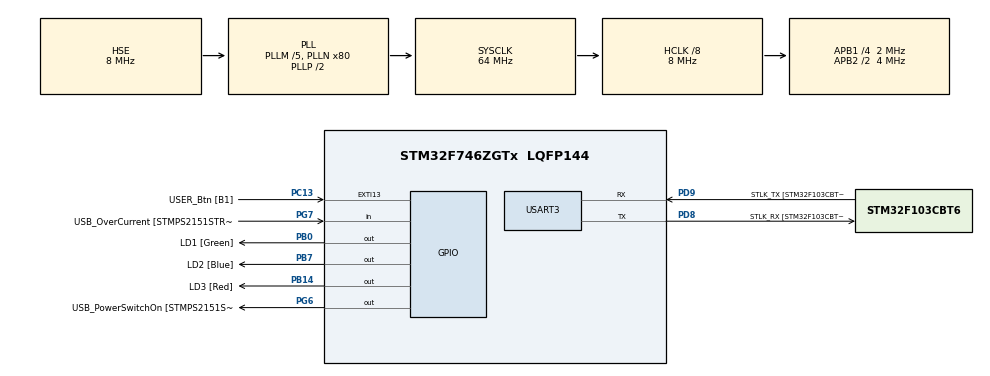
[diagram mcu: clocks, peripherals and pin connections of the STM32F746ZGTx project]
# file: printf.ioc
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Mcu.Family=STM32F7
Mcu.Name=STM32F746ZGTx
Mcu.Package=LQFP144
NVIC.PriorityGroup=NVIC_PRIORITYGROUP_4
PA1.GPIO_Label=RMII_REF_CLK [LAN8742A-CZ-TR_REFCLK0]
PA1.Signal=ETH_REF_CLK
PA10.GPIO_Label=USB_ID
PA10.Signal=USB_OTG_FS_ID
PA11.GPIO_Label=USB_DM
PA11.Signal=USB_OTG_FS_DM
PA12.GPIO_Label=USB_DP
PA12.Signal=USB_OTG_FS_DP
PA13.GPIO_Label=TMS
PA13.Mode=Trace_Asynchronous_SW
PA13.Signal=SYS_JTMS-SWDIO
PA14.GPIO_Label=TCK
PA14.Mode=Trace_Asynchronous_SW
PA14.Signal=SYS_JTCK-SWCLK
PA2.GPIO_Label=RMII_MDIO [LAN8742A-CZ-TR_MDIO]
PA2.Signal=ETH_MDIO
PA7.GPIO_Label=RMII_CRS_DV [LAN8742A-CZ-TR_CRS_DV]
PA7.Signal=ETH_CRS_DV
PA8.GPIO_Label=USB_SOF [TP1]
PA8.Signal=USB_OTG_FS_SOF
PA9.GPIO_Label=USB_VBUS
PA9.Signal=USB_OTG_FS_VBUS
PB0.GPIO_Label=LD1 [Green]
PB0.Signal=GPIO_Output
PB13.GPIO_Label=RMII_TXD1 [LAN8742A-CZ-TR_TXD1]
PB13.Signal=ETH_TXD1
PB14.GPIO_Label=LD3 [Red]
PB14.Signal=GPIO_Output
PB3.GPIO_Label=SW0
PB3.Mode=Trace_Asynchronous_SW
PB3.Signal=SYS_JTDO-SWO
PB7.GPIO_Label=LD2 [Blue]
PB7.Signal=GPIO_Output
PC1.GPIO_Label=RMII_MDC [LAN8742A-CZ-TR_MDC]
PC1.Signal=ETH_MDC
PC13.GPIO_Label=USER_Btn [B1]
PC13.Signal=GPXTI13
PC14/OSC32_IN.Mode=LSE-External-Oscillator
PC14/OSC32_IN.Signal=RCC_OSC32_IN
PC15/OSC32_OUT.Mode=LSE-External-Oscillator
PC15/OSC32_OUT.Signal=RCC_OSC32_OUT
PC4.GPIO_Label=RMII_RXD0 [LAN8742A-CZ-TR_RXD0]
PC4.Signal=ETH_RXD0
PC5.GPIO_Label=RMII_RXD1 [LAN8742A-CZ-TR_RXD1]
PC5.Signal=ETH_RXD1
PD8.GPIO_Label=STLK_RX [STM32F103CBT6_PA3]
PD8.Mode=Asynchronous
PD8.Signal=USART3_TX
PD9.GPIO_Label=STLK_TX [STM32F103CBT6_PA2]
PD9.Mode=Asynchronous
PD9.Signal=USART3_RX
PG11.GPIO_Label=RMII_TX_EN [LAN8742A-CZ-TR_TXEN]
PG11.Signal=ETH_TX_EN
PG13.GPIO_Label=RMII_TXD0 [LAN8742A-CZ-TR_TXD0]
PG13.Signal=ETH_TXD0
PG6.GPIO_Label=USB_PowerSwitchOn [STMPS2151STR_EN]
PG6.Signal=GPIO_Output
PG7.GPIO_Label=USB_OverCurrent [STMPS2151STR_FAULT]
PG7.Signal=GPIO_Input
PH0/OSC_IN.GPIO_Label=MCO [STM32F103CBT6_PA8]
PH0/OSC_IN.Mode=HSE-External-Clock-Source
PH0/OSC_IN.Signal=RCC_OSC_IN
PH1/OSC_OUT.Mode=HSE-External-Clock-Source
PH1/OSC_OUT.Signal=RCC_OSC_OUT
ProjectManager.HeapSize=0x200
ProjectManager.StackSize=0x400
ProjectManager.TargetToolchain=STM32CubeIDE
RCC.48MHZClocksFreq_Value=24000000
RCC.AHBCLKDivider=RCC_SYSCLK_DIV8
RCC.AHBFreq_Value=8000000
RCC.APB1CLKDivider=RCC_HCLK_DIV4
RCC.APB1Freq_Value=2000000
RCC.APB1TimFreq_Value=4000000
RCC.APB2CLKDivider=RCC_HCLK_DIV2
RCC.APB2Freq_Value=4000000
RCC.APB2TimFreq_Value=8000000
RCC.CortexFreq_Value=8000000
RCC.HCLKFreq_Value=8000000
RCC.HSE_VALUE=8000000
RCC.HSI_VALUE=16000000
RCC.PLLM=5
RCC.PLLMUL=RCC_PLL_MUL9
RCC.PLLN=80
RCC.PLLQ=3
RCC.PLLSourceVirtual=RCC_PLLSOURCE_HSE
RCC.PRESCALERUSB=RCC_USBCLKSOURCE_PLL_DIV1_5
RCC.SYSCLKFreq_VALUE=64000000
RCC.SYSCLKSource=RCC_SYSCLKSOURCE_PLLCLK
RCC.SYSCLKSourceVirtual=RCC_SYSCLKSOURCE_PLLCLK
RCC.USBFreq_Value=42666666.666666664
RCC.VCOOutputFreq_Value=128000000
USART3.VirtualMode-Asynchronous=VM_ASYNC
board=NUCLEO-F746ZG

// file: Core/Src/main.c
/* USER CODE BEGIN Header */
/**
  ******************************************************************************
  * @file           : main.c
  * @brief          : Main program body
  ******************************************************************************
  * @attention
  *
  * <h2><center>&copy; Copyright (c) 2022 STMicroelectronics.
  * All rights reserved.</center></h2>
  *
  * This software component is licensed by ST under BSD 3-Clause license,
  * the "License"; You may not use this file except in compliance with the
  * License. You may obtain a copy of the License at:
  *                        opensource.org/licenses/BSD-3-Clause
  *
  ******************************************************************************
  */
/* USER CODE END Header */
#include "main.h"

/* USER CODE BEGIN Includes */
#include "stdio.h"
#include "retarget.h"
/* USER CODE END Includes */

/* USER CODE BEGIN PD */
#define DEMCR        			*((volatile uint32_t*) 0xE000EDFCU )
#define ITM_STIMULUS_PORT0   	*((volatile uint32_t*) 0xE0000000 )
#define ITM_TRACE_EN          	*((volatile uint32_t*) 0xE0000E00 )

/* USER CODE END PD */

/* USER CODE BEGIN PM */
#define ITM_Port32(n) (*((volatile unsigned long *)(0xE0000000 + 4*n)))
/* USER CODE END PM */

UART_HandleTypeDef huart3;

/* USER CODE BEGIN PV */
float x = 7.3424235;
/* USER CODE END PV */

void SystemClock_Config(void);
static void MX_GPIO_Init(void);
static void MX_USART3_UART_Init(void);
/* USER CODE BEGIN PFP */

void xITM_SendChar(uint8_t ch)
{
	//Enable TRCENA
	DEMCR |= ( 1 << 24);

	//enable stimulus port 0
	ITM_TRACE_EN |= ( 1 << 0);

	// read FIFO status in bit [0]:
	while(!(ITM_STIMULUS_PORT0 & 1));

	//Write to ITM stimulus port0
	ITM_STIMULUS_PORT0 = ch;
}

//int _write(int file, char *ptr, int len)
//{
//  /* Implement your write code here, this is used by puts and printf for example */
//  int i=0;
//
//  for(i=0 ; i<len ; i++)
//    xITM_SendChar((*ptr++));
////	  ITM_SendChar((*ptr++));
//
//  return len;
//}

/* USER CODE END PFP */

/* USER CODE BEGIN 0 */
char buf[100];
/* USER CODE END 0 */

int main(void)
{

  /* MCU Configuration--------------------------------------------------------*/

  /* Reset of all peripherals, Initializes the Flash interface and the Systick. */
  HAL_Init();

  /* Configure the system clock */
  SystemClock_Config();

  /* Initialize all configured peripherals */
  MX_GPIO_Init();
  MX_USART3_UART_Init();
  /* USER CODE BEGIN 2 */
  RetargetInit(&huart3);
  /* USER CODE END 2 */

  /* Infinite loop */
  while (1)
  {

    /* USER CODE BEGIN 3 */
//	  	ITM_Port32(31) = 2;
	    int testInteger;
	    printf("\r\nEnter an integer:");
	    scanf("%d", &testInteger);
	    printf("\r\nNumber = %d",testInteger);

//	    printf("\r\nYour name: ");
//	    fflush(stdout);
//	    scanf("%s",buf);
//	    printf("\r\nHello, %s!\r\n", buf);
//		HAL_Delay(100);
  }
  /* USER CODE END 3 */
}

void SystemClock_Config(void)
{
  RCC_OscInitTypeDef RCC_OscInitStruct = {0};
  RCC_ClkInitTypeDef RCC_ClkInitStruct = {0};
  RCC_PeriphCLKInitTypeDef PeriphClkInitStruct = {0};

  /** Configure LSE Drive Capability
  */
  HAL_PWR_EnableBkUpAccess();
  /** Configure the main internal regulator output voltage
  */
  __HAL_RCC_PWR_CLK_ENABLE();
  __HAL_PWR_VOLTAGESCALING_CONFIG(PWR_REGULATOR_VOLTAGE_SCALE3);
  /** Initializes the RCC Oscillators according to the specified parameters
  * in the RCC_OscInitTypeDef structure.
  */
  RCC_OscInitStruct.OscillatorType = RCC_OSCILLATORTYPE_HSE;
  RCC_OscInitStruct.HSEState = RCC_HSE_BYPASS;
  RCC_OscInitStruct.PLL.PLLState = RCC_PLL_ON;
  RCC_OscInitStruct.PLL.PLLSource = RCC_PLLSOURCE_HSE;
  RCC_OscInitStruct.PLL.PLLM = 5;
  RCC_OscInitStruct.PLL.PLLN = 80;
  RCC_OscInitStruct.PLL.PLLP = RCC_PLLP_DIV2;
  RCC_OscInitStruct.PLL.PLLQ = 3;
  if (HAL_RCC_OscConfig(&RCC_OscInitStruct) != HAL_OK)
  {
    Error_Handler();
  }
  /** Initializes the CPU, AHB and APB buses clocks
  */
  RCC_ClkInitStruct.ClockType = RCC_CLOCKTYPE_HCLK|RCC_CLOCKTYPE_SYSCLK
                              |RCC_CLOCKTYPE_PCLK1|RCC_CLOCKTYPE_PCLK2;
  RCC_ClkInitStruct.SYSCLKSource = RCC_SYSCLKSOURCE_PLLCLK;
  RCC_ClkInitStruct.AHBCLKDivider = RCC_SYSCLK_DIV8;
  RCC_ClkInitStruct.APB1CLKDivider = RCC_HCLK_DIV4;
  RCC_ClkInitStruct.APB2CLKDivider = RCC_HCLK_DIV2;

  if (HAL_RCC_ClockConfig(&RCC_ClkInitStruct, FLASH_LATENCY_0) != HAL_OK)
  {
    Error_Handler();
  }
  PeriphClkInitStruct.PeriphClockSelection = RCC_PERIPHCLK_USART3;
  PeriphClkInitStruct.Usart3ClockSelection = RCC_USART3CLKSOURCE_PCLK1;
  if (HAL_RCCEx_PeriphCLKConfig(&PeriphClkInitStruct) != HAL_OK)
  {
    Error_Handler();
  }
}

static void MX_USART3_UART_Init(void)
{

  huart3.Instance = USART3;
  huart3.Init.BaudRate = 115200;
  huart3.Init.WordLength = UART_WORDLENGTH_8B;
  huart3.Init.StopBits = UART_STOPBITS_1;
  huart3.Init.Parity = UART_PARITY_NONE;
  huart3.Init.Mode = UART_MODE_TX_RX;
  huart3.Init.HwFlowCtl = UART_HWCONTROL_NONE;
  huart3.Init.OverSampling = UART_OVERSAMPLING_16;
  huart3.Init.OneBitSampling = UART_ONE_BIT_SAMPLE_DISABLE;
  huart3.AdvancedInit.AdvFeatureInit = UART_ADVFEATURE_NO_INIT;
  if (HAL_UART_Init(&huart3) != HAL_OK)
  {
    Error_Handler();
  }

}

static void MX_GPIO_Init(void)
{
  GPIO_InitTypeDef GPIO_InitStruct = {0};

  /* GPIO Ports Clock Enable */
  __HAL_RCC_GPIOC_CLK_ENABLE();
  __HAL_RCC_GPIOH_CLK_ENABLE();
  __HAL_RCC_GPIOA_CLK_ENABLE();
  __HAL_RCC_GPIOB_CLK_ENABLE();
  __HAL_RCC_GPIOD_CLK_ENABLE();
  __HAL_RCC_GPIOG_CLK_ENABLE();

  /*Configure GPIO pin Output Level */
  HAL_GPIO_WritePin(GPIOB, LD1_Pin|LD3_Pin|LD2_Pin, GPIO_PIN_RESET);

  /*Configure GPIO pin Output Level */
  HAL_GPIO_WritePin(USB_PowerSwitchOn_GPIO_Port, USB_PowerSwitchOn_Pin, GPIO_PIN_RESET);

  /*Configure GPIO pin : USER_Btn_Pin */
  GPIO_InitStruct.Pin = USER_Btn_Pin;
  GPIO_InitStruct.Mode = GPIO_MODE_IT_RISING;
  GPIO_InitStruct.Pull = GPIO_NOPULL;
  HAL_GPIO_Init(USER_Btn_GPIO_Port, &GPIO_InitStruct);

  /*Configure GPIO pins : RMII_MDC_Pin RMII_RXD0_Pin RMII_RXD1_Pin */
  GPIO_InitStruct.Pin = RMII_MDC_Pin|RMII_RXD0_Pin|RMII_RXD1_Pin;
  GPIO_InitStruct.Mode = GPIO_MODE_AF_PP;
  GPIO_InitStruct.Pull = GPIO_NOPULL;
  GPIO_InitStruct.Speed = GPIO_SPEED_FREQ_VERY_HIGH;
  GPIO_InitStruct.Alternate = GPIO_AF11_ETH;
  HAL_GPIO_Init(GPIOC, &GPIO_InitStruct);

  /*Configure GPIO pins : RMII_REF_CLK_Pin RMII_MDIO_Pin RMII_CRS_DV_Pin */
  GPIO_InitStruct.Pin = RMII_REF_CLK_Pin|RMII_MDIO_Pin|RMII_CRS_DV_Pin;
  GPIO_InitStruct.Mode = GPIO_MODE_AF_PP;
  GPIO_InitStruct.Pull = GPIO_NOPULL;
  GPIO_InitStruct.Speed = GPIO_SPEED_FREQ_VERY_HIGH;
  GPIO_InitStruct.Alternate = GPIO_AF11_ETH;
  HAL_GPIO_Init(GPIOA, &GPIO_InitStruct);

  /*Configure GPIO pins : LD1_Pin LD3_Pin LD2_Pin */
  GPIO_InitStruct.Pin = LD1_Pin|LD3_Pin|LD2_Pin;
  GPIO_InitStruct.Mode = GPIO_MODE_OUTPUT_PP;
  GPIO_InitStruct.Pull = GPIO_NOPULL;
  GPIO_InitStruct.Speed = GPIO_SPEED_FREQ_LOW;
  HAL_GPIO_Init(GPIOB, &GPIO_InitStruct);

  /*Configure GPIO pin : RMII_TXD1_Pin */
  GPIO_InitStruct.Pin = RMII_TXD1_Pin;
  GPIO_InitStruct.Mode = GPIO_MODE_AF_PP;
  GPIO_InitStruct.Pull = GPIO_NOPULL;
  GPIO_InitStruct.Speed = GPIO_SPEED_FREQ_VERY_HIGH;
  GPIO_InitStruct.Alternate = GPIO_AF11_ETH;
  HAL_GPIO_Init(RMII_TXD1_GPIO_Port, &GPIO_InitStruct);

  /*Configure GPIO pin : USB_PowerSwitchOn_Pin */
  GPIO_InitStruct.Pin = USB_PowerSwitchOn_Pin;
  GPIO_InitStruct.Mode = GPIO_MODE_OUTPUT_PP;
  GPIO_InitStruct.Pull = GPIO_NOPULL;
  GPIO_InitStruct.Speed = GPIO_SPEED_FREQ_LOW;
  HAL_GPIO_Init(USB_PowerSwitchOn_GPIO_Port, &GPIO_InitStruct);

  /*Configure GPIO pin : USB_OverCurrent_Pin */
  GPIO_InitStruct.Pin = USB_OverCurrent_Pin;
  GPIO_InitStruct.Mode = GPIO_MODE_INPUT;
  GPIO_InitStruct.Pull = GPIO_NOPULL;
  HAL_GPIO_Init(USB_OverCurrent_GPIO_Port, &GPIO_InitStruct);

  /*Configure GPIO pins : USB_SOF_Pin USB_ID_Pin USB_DM_Pin USB_DP_Pin */
  GPIO_InitStruct.Pin = USB_SOF_Pin|USB_ID_Pin|USB_DM_Pin|USB_DP_Pin;
  GPIO_InitStruct.Mode = GPIO_MODE_AF_PP;
  GPIO_InitStruct.Pull = GPIO_NOPULL;
  GPIO_InitStruct.Speed = GPIO_SPEED_FREQ_VERY_HIGH;
  GPIO_InitStruct.Alternate = GPIO_AF10_OTG_FS;
  HAL_GPIO_Init(GPIOA, &GPIO_InitStruct);

  /*Configure GPIO pin : USB_VBUS_Pin */
  GPIO_InitStruct.Pin = USB_VBUS_Pin;
  GPIO_InitStruct.Mode = GPIO_MODE_INPUT;
  GPIO_InitStruct.Pull = GPIO_NOPULL;
  HAL_GPIO_Init(USB_VBUS_GPIO_Port, &GPIO_InitStruct);

  /*Configure GPIO pins : RMII_TX_EN_Pin RMII_TXD0_Pin */
  GPIO_InitStruct.Pin = RMII_TX_EN_Pin|RMII_TXD0_Pin;
  GPIO_InitStruct.Mode = GPIO_MODE_AF_PP;
  GPIO_InitStruct.Pull = GPIO_NOPULL;
  GPIO_InitStruct.Speed = GPIO_SPEED_FREQ_VERY_HIGH;
  GPIO_InitStruct.Alternate = GPIO_AF11_ETH;
  HAL_GPIO_Init(GPIOG, &GPIO_InitStruct);

}

void Error_Handler(void)
{
  __disable_irq();
  while (1)
  {
  }
}

/************************ (C) COPYRIGHT STMicroelectronics *****END OF FILE****/
